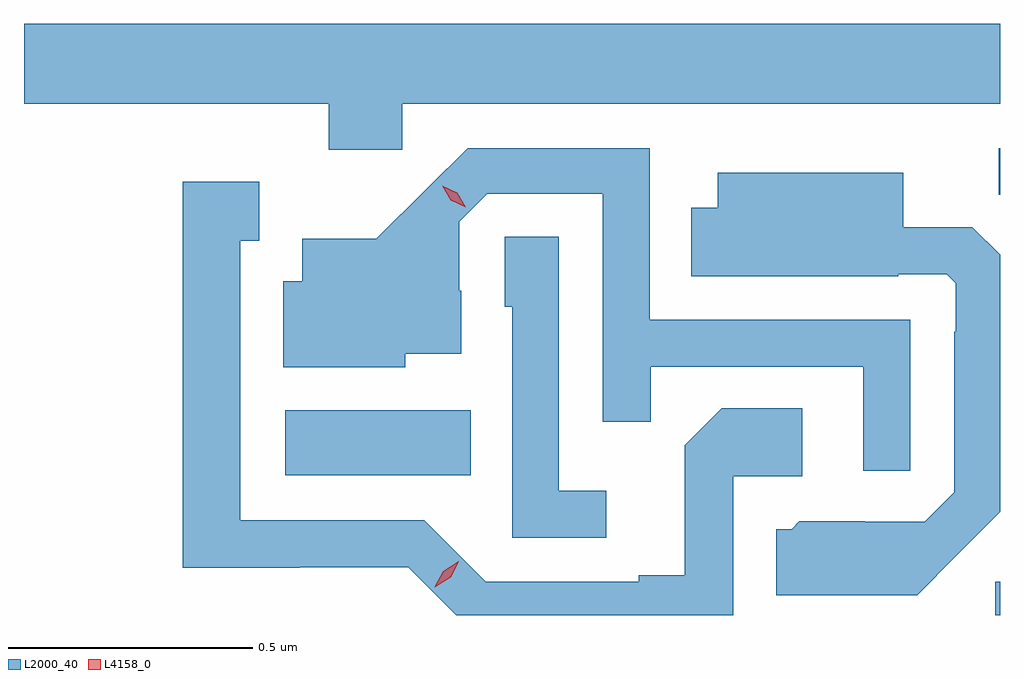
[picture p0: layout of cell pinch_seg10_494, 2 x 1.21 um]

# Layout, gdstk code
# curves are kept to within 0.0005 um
import gdstk
lib = gdstk.Library(unit=1e-6, precision=1e-09)
def R(c, l, rs):  # rectangles x0, y0, x1, y1
    for r in rs: c.add(gdstk.rectangle(r[:2], r[2:], *l))
def P(c, l, *ps):  # polygons
    for p in ps: c.add(gdstk.Polygon(p, *l))
L2000_40 = (2000, 40)
L4158_0 = (4158, 0)

pinch_seg10_494 = lib.new_cell('pinch_seg10_494')
R(pinch_seg10_494, L2000_40, [(326.865,1293.939,326.875,1294.008), (325.41,1294.226,325.79,1294.36), (326.872,1294.801,326.875,1294.896)])
P(pinch_seg10_494, L2000_40, [(325.65,1294.988),(326.875,1294.988),(326.875,1295.152),(324.875,1295.152),(324.875,1294.988),(325.499,1294.988),(325.499,1294.893),(325.65,1294.893)],
  [(326.691,1294.545),(326.157,1294.545),(326.157,1294.896),(325.784,1294.896),(325.597,1294.711),(325.445,1294.711),(325.445,1294.624),(325.406,1294.624),(325.406,1294.448),(325.656,1294.448),(325.656,1294.475),(325.771,1294.475),(325.771,1294.604),(325.767,1294.604),(325.767,1294.746),(325.824,1294.803),(326.061,1294.803),(326.061,1294.336),(326.159,1294.336),(326.159,1294.449),(326.595,1294.449),(326.595,1294.236),(326.691,1294.236)],
  [(326.785,1294.061),(326.875,1294.152),(326.875,1294.678),(326.818,1294.735),(326.677,1294.735),(326.677,1294.846),(326.297,1294.846),(326.297,1294.774),(326.242,1294.774),(326.242,1294.634),(326.666,1294.634),(326.666,1294.638),(326.766,1294.638),(326.784,1294.62),(326.784,1294.52),(326.781,1294.52),(326.781,1294.191),(326.721,1294.131),(326.598,1294.131),(326.598,1294.132),(326.464,1294.132),(326.448,1294.116),(326.417,1294.116),(326.417,1293.98),(326.705,1293.98)],
  [(326.328,1294.224),(326.47,1294.224),(326.47,1294.364),(326.305,1294.364),(326.229,1294.288),(326.229,1294.021),(326.135,1294.021),(326.135,1294.008),(325.821,1294.008),(325.695,1294.134),(325.318,1294.134),(325.318,1294.707),(325.357,1294.707),(325.357,1294.828),(325.2,1294.828),(325.2,1294.037),(325.44,1294.037),(325.44,1294.038),(325.662,1294.038),(325.761,1293.939),(326.328,1293.939)],
  [(326.068,1294.195),(325.971,1294.195),(325.971,1294.715),(325.86,1294.715),(325.86,1294.572),(325.875,1294.572),(325.875,1294.098),(326.068,1294.098)])
P(pinch_seg10_494, L4158_0, [(325.78,1294.776),(325.749,1294.79),(325.732,1294.82),(325.732,1294.82),(325.732,1294.82),(325.763,1294.805),(325.78,1294.776),(325.78,1294.776)],
  [(325.717,1293.997),(325.717,1293.998),(325.734,1294.03),(325.766,1294.05),(325.766,1294.05),(325.766,1294.049),(325.749,1294.017),(325.717,1293.997)])

lib.write_gds('pinch_seg10_494.gds')
